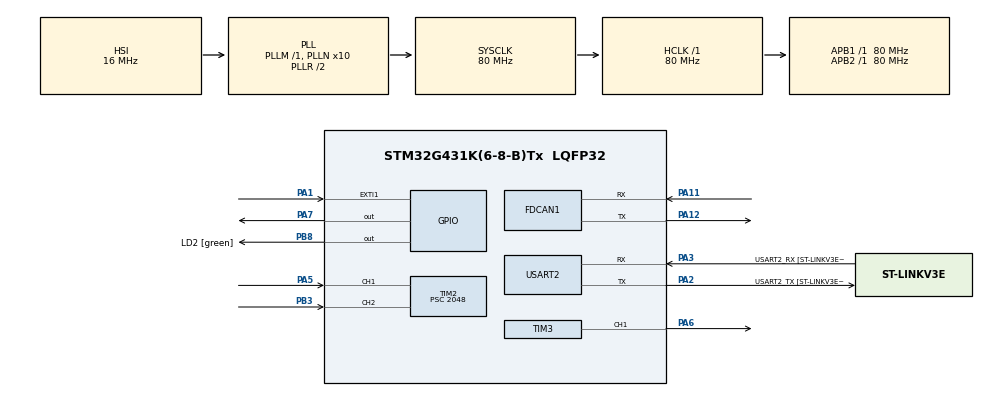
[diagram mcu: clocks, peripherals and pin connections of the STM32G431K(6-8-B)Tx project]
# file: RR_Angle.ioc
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FDCAN1.CalculateBaudRateNominal=1000000
FDCAN1.CalculateTimeBitNominal=1000
FDCAN1.CalculateTimeQuantumNominal=62.5
FDCAN1.DataPrescaler=2
FDCAN1.DataSyncJumpWidth=2
FDCAN1.DataTimeSeg1=10
FDCAN1.DataTimeSeg2=9
FDCAN1.FrameFormat=FDCAN_FRAME_FD_BRS
FDCAN1.NominalPrescaler=5
FDCAN1.NominalSyncJumpWidth=2
FDCAN1.NominalTimeSeg1=13
FDCAN1.StdFiltersNbr=1
Mcu.Family=STM32G4
Mcu.Name=STM32G431K(6-8-B)Tx
Mcu.Package=LQFP32
NVIC.EXTI1_IRQn=true\:0\:0\:false\:false\:true\:true\:true\:true
NVIC.FDCAN1_IT0_IRQn=true\:0\:0\:false\:false\:true\:true\:true\:true
NVIC.PriorityGroup=NVIC_PRIORITYGROUP_4
PA1.GPIO_ModeDefaultEXTI=GPIO_MODE_IT_RISING
PA1.GPIO_PuPd=GPIO_PULLDOWN
PA1.Signal=GPXTI1
PA11.Mode=FDCAN_Activate
PA11.Signal=FDCAN1_RX
PA12.Mode=FDCAN_Activate
PA12.Signal=FDCAN1_TX
PA13.GPIO_Label=T_SWDIO
PA13.Mode=Serial_Wire
PA13.Signal=SYS_JTMS-SWDIO
PA14.GPIO_Label=T_SWCLK
PA14.Mode=Serial_Wire
PA14.Signal=SYS_JTCK-SWCLK
PA2.GPIO_Label=USART2_TX [ST-LINKV3E_VCP_RX]
PA2.Mode=Asynchronous
PA2.Signal=USART2_TX
PA3.GPIO_Label=USART2_RX [ST-LINKV3E_VCP_TX]
PA3.Mode=Asynchronous
PA3.Signal=USART2_RX
PA5.Signal=S_TIM2_CH1
PA6.Signal=S_TIM3_CH1
PA7.Signal=GPIO_Output
PB3.Signal=S_TIM2_CH2
PB8-BOOT0.GPIO_Label=LD2 [green]
PB8-BOOT0.Signal=GPIO_Output
ProjectManager.HeapSize=0x200
ProjectManager.StackSize=0x400
ProjectManager.TargetToolchain=STM32CubeIDE
RCC.ADC12Freq_Value=80000000
RCC.AHBFreq_Value=80000000
RCC.APB1Freq_Value=80000000
RCC.APB1TimFreq_Value=80000000
RCC.APB2Freq_Value=80000000
RCC.APB2TimFreq_Value=80000000
RCC.CortexFreq_Value=80000000
RCC.EXTERNAL_CLOCK_VALUE=12288000
RCC.HCLKFreq_Value=80000000
RCC.HSE_VALUE=8000000
RCC.HSI48_VALUE=48000000
RCC.HSI_VALUE=16000000
RCC.LSE_VALUE=32768
RCC.PLLN=10
RCC.SYSCLKFreq_VALUE=80000000
RCC.SYSCLKSource=RCC_SYSCLKSOURCE_PLLCLK
RCC.USBFreq_Value=80000000
RCC.VCOOutputFreq_Value=160000000
SH.S_TIM2_CH1.0=TIM2_CH1,Encoder_Interface
SH.S_TIM2_CH2.0=TIM2_CH2,Encoder_Interface
SH.S_TIM3_CH1.0=TIM3_CH1,PWM Generation1 CH1
TIM2.Prescaler=2048
TIM3.Channel-PWM\ Generation1\ CH1=TIM_CHANNEL_1
TIM3.PeriodNoDither=99
TIM3.Prescaler=169
USART2.VirtualMode-Asynchronous=VM_ASYNC
USART2.WordLength=WORDLENGTH_8B
VP_TIM3_VS_ClockSourceINT.Mode=Internal
board=NUCLEO-G431KB

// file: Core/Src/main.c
/* USER CODE BEGIN Header */
/**
  ******************************************************************************
  * @file           : main.c
  * @brief          : Main program body
  ******************************************************************************
  * @attention
  *
  * Copyright (c) 2023 STMicroelectronics.
  * All rights reserved.
  *
  * This software is licensed under terms that can be found in the LICENSE file
  * in the root directory of this software component.
  * If no LICENSE file comes with this software, it is provided AS-IS.
  *
  ******************************************************************************
  */
/* USER CODE END Header */
#include "main.h"

FDCAN_HandleTypeDef hfdcan1;

TIM_HandleTypeDef htim2;
TIM_HandleTypeDef htim3;

UART_HandleTypeDef huart2;

/* USER CODE BEGIN PV */
FDCAN_TxHeaderTypeDef TxHeader;
FDCAN_RxHeaderTypeDef RxHeader;
FDCAN_FilterTypeDef sFilterConfig;

uint8_t TxData[1];
uint8_t RxData[1];
uint32_t TxMailbox;
/* USER CODE END PV */

void SystemClock_Config(void);
static void MX_GPIO_Init(void);
static void MX_USART2_UART_Init(void);
static void MX_TIM2_Init(void);
static void MX_TIM3_Init(void);
static void MX_FDCAN1_Init(void);

/* USER CODE BEGIN 0 */

int origin = 0; //原点を取ったかを記録する変数
int cnt = 0; //エンコーダーの値を記録する変数
int flag = 0; //どの操作を行うか判断するフラグ

void HAL_GPIO_EXTI_Callback(uint16_t GPIO_Pin){ //リミットスイッチを押したとき

	if (GPIO_Pin == GPIO_PIN_1 && origin == 0){
		__HAL_GPIO_EXTI_CLEAR_FLAG(GPIO_PIN_1);
		//__HAL_TIM_SET_COMPARE(&htim3, TIM_CHANNEL_1, 0);
		//HAL_GPIO_WritePin(GPIOA, GPIO_PIN_7, GPIO_PIN_SET);
		origin = 1;
		flag = 2;
		HAL_TIM_Encoder_Start(&htim2, TIM_CHANNEL_ALL);
	}
}

/* USER CODE END 0 */

int main(void)
{

  /* MCU Configuration--------------------------------------------------------*/

  /* Reset of all peripherals, Initializes the Flash interface and the Systick. */
  HAL_Init();

  /* Configure the system clock */
  SystemClock_Config();

  /* Initialize all configured peripherals */
  MX_GPIO_Init();
  MX_USART2_UART_Init();
  MX_TIM2_Init();
  MX_TIM3_Init();
  MX_FDCAN1_Init();
  /* USER CODE BEGIN 2 */
    TxHeader.Identifier = 0x513;
    TxHeader.IdType = FDCAN_STANDARD_ID;
    TxHeader.TxFrameType = FDCAN_DATA_FRAME;
    TxHeader.DataLength = FDCAN_DLC_BYTES_1;
    TxHeader.ErrorStateIndicator = FDCAN_ESI_ACTIVE;
    TxHeader.BitRateSwitch = FDCAN_BRS_ON;
    TxHeader.FDFormat = FDCAN_FD_CAN;
    TxHeader.TxEventFifoControl = FDCAN_NO_TX_EVENTS;
    TxHeader.MessageMarker = 0;

    FDCAN_FilterTypeDef sFilterConfig;
    sFilterConfig.IdType = FDCAN_STANDARD_ID;
    sFilterConfig.FilterIndex = 0;
    sFilterConfig.FilterType = FDCAN_FILTER_DUAL;
    sFilterConfig.FilterConfig = FDCAN_FILTER_TO_RXFIFO0;
    sFilterConfig.FilterID1 = 0x051;
    sFilterConfig.FilterID2 = 0x302;

  __HAL_TIM_SET_COMPARE(&htim3, TIM_CHANNEL_1, 0);
  HAL_GPIO_WritePin(GPIOA, GPIO_PIN_7, GPIO_PIN_RESET);
  HAL_TIM_PWM_Start(&htim3, TIM_CHANNEL_1);
  __HAL_GPIO_EXTI_CLEAR_FLAG(GPIO_PIN_1);

  /* USER CODE END 2 */

  /* Infinite loop */
  while (1)
  {

    /* USER CODE BEGIN 3 */
        if(flag == 5){
            HAL_GPIO_WritePin(GPIOA, GPIO_PIN_7, GPIO_PIN_RESET);
            __HAL_TIM_SET_COMPARE(&htim3, TIM_CHANNEL_1, 60);
            HAL_GPIO_WritePin(GPIOA, GPIO_PIN_7, GPIO_PIN_SET);
            __HAL_TIM_SET_COMPARE(&htim3, TIM_CHANNEL_1, 60);
            cnt = abs(__HAL_TIM_GET_COUNTER(&htim2));
            if(cnt == 140){
                __HAL_TIM_SET_COMPARE(&htim3, TIM_CHANNEL_1, 0);
                flag = 0;
            }
        }

	  if(flag == 1){//原点を取る
		  HAL_GPIO_WritePin(GPIOA, GPIO_PIN_7, GPIO_PIN_RESET);
		  __HAL_TIM_SET_COMPARE(&htim3, TIM_CHANNEL_1, 60);
	  }

	  if(flag == 2){//原点を取ったあとに初期位置に
		  HAL_GPIO_WritePin(GPIOA, GPIO_PIN_7, GPIO_PIN_SET);
		  __HAL_TIM_SET_COMPARE(&htim3, TIM_CHANNEL_1, 60);
		  cnt = abs(__HAL_TIM_GET_COUNTER(&htim2));
		  if(cnt == 140){
			  __HAL_TIM_SET_COMPARE(&htim3, TIM_CHANNEL_1, 0);
			  flag = 0;
		  }
	  }

	  if(flag == 3){ //発射台を45度傾ける
		  HAL_GPIO_WritePin(GPIOA, GPIO_PIN_7, GPIO_PIN_SET);
		  __HAL_TIM_SET_COMPARE(&htim3, TIM_CHANNEL_1, 60);
		  cnt = abs(__HAL_TIM_GET_COUNTER(&htim2));

		  if(cnt == 1900){
			  __HAL_TIM_SET_COMPARE(&htim3, TIM_CHANNEL_1, 0);
			  flag = 0;
		  }
	  }

	  if(flag == 4){ //発射台を装填位置に移動
		  HAL_GPIO_WritePin(GPIOA, GPIO_PIN_7, GPIO_PIN_RESET);
		  __HAL_TIM_SET_COMPARE(&htim3, TIM_CHANNEL_1, 60);
		  cnt = abs(__HAL_TIM_GET_COUNTER(&htim2));

		  if(cnt == 140){
			  __HAL_TIM_SET_COMPARE(&htim3, TIM_CHANNEL_1, 0);
			  flag = 0;
		  }

          // 次の行程へCAN通信
          TxHeader.Identifier = 0x324;
          TxData[0] = 0x03;
          if (HAL_FDCAN_AddMessageToTxFifoQ(&hfdcan1, &TxHeader, TxData) != HAL_OK)
          {
              Error_Handler();
          }
	  }
  }
  /* USER CODE END 3 */
}

void SystemClock_Config(void)
{
  RCC_OscInitTypeDef RCC_OscInitStruct = {0};
  RCC_ClkInitTypeDef RCC_ClkInitStruct = {0};

  /** Configure the main internal regulator output voltage
  */
  HAL_PWREx_ControlVoltageScaling(PWR_REGULATOR_VOLTAGE_SCALE1);

  /** Initializes the RCC Oscillators according to the specified parameters
  * in the RCC_OscInitTypeDef structure.
  */
  RCC_OscInitStruct.OscillatorType = RCC_OSCILLATORTYPE_HSI;
  RCC_OscInitStruct.HSIState = RCC_HSI_ON;
  RCC_OscInitStruct.HSICalibrationValue = RCC_HSICALIBRATION_DEFAULT;
  RCC_OscInitStruct.PLL.PLLState = RCC_PLL_ON;
  RCC_OscInitStruct.PLL.PLLSource = RCC_PLLSOURCE_HSI;
  RCC_OscInitStruct.PLL.PLLM = RCC_PLLM_DIV1;
  RCC_OscInitStruct.PLL.PLLN = 10;
  RCC_OscInitStruct.PLL.PLLP = RCC_PLLP_DIV2;
  RCC_OscInitStruct.PLL.PLLQ = RCC_PLLQ_DIV2;
  RCC_OscInitStruct.PLL.PLLR = RCC_PLLR_DIV2;
  if (HAL_RCC_OscConfig(&RCC_OscInitStruct) != HAL_OK)
  {
    Error_Handler();
  }

  /** Initializes the CPU, AHB and APB buses clocks
  */
  RCC_ClkInitStruct.ClockType = RCC_CLOCKTYPE_HCLK|RCC_CLOCKTYPE_SYSCLK
                              |RCC_CLOCKTYPE_PCLK1|RCC_CLOCKTYPE_PCLK2;
  RCC_ClkInitStruct.SYSCLKSource = RCC_SYSCLKSOURCE_PLLCLK;
  RCC_ClkInitStruct.AHBCLKDivider = RCC_SYSCLK_DIV1;
  RCC_ClkInitStruct.APB1CLKDivider = RCC_HCLK_DIV1;
  RCC_ClkInitStruct.APB2CLKDivider = RCC_HCLK_DIV1;

  if (HAL_RCC_ClockConfig(&RCC_ClkInitStruct, FLASH_LATENCY_2) != HAL_OK)
  {
    Error_Handler();
  }
}

static void MX_FDCAN1_Init(void)
{

  hfdcan1.Instance = FDCAN1;
  hfdcan1.Init.ClockDivider = FDCAN_CLOCK_DIV1;
  hfdcan1.Init.FrameFormat = FDCAN_FRAME_FD_BRS;
  hfdcan1.Init.Mode = FDCAN_MODE_NORMAL;
  hfdcan1.Init.AutoRetransmission = DISABLE;
  hfdcan1.Init.TransmitPause = DISABLE;
  hfdcan1.Init.ProtocolException = DISABLE;
  hfdcan1.Init.NominalPrescaler = 5;
  hfdcan1.Init.NominalSyncJumpWidth = 2;
  hfdcan1.Init.NominalTimeSeg1 = 13;
  hfdcan1.Init.NominalTimeSeg2 = 2;
  hfdcan1.Init.DataPrescaler = 2;
  hfdcan1.Init.DataSyncJumpWidth = 2;
  hfdcan1.Init.DataTimeSeg1 = 10;
  hfdcan1.Init.DataTimeSeg2 = 9;
  hfdcan1.Init.StdFiltersNbr = 1;
  hfdcan1.Init.ExtFiltersNbr = 0;
  hfdcan1.Init.TxFifoQueueMode = FDCAN_TX_FIFO_OPERATION;
  if (HAL_FDCAN_Init(&hfdcan1) != HAL_OK)
  {
    Error_Handler();
  }

}

static void MX_TIM2_Init(void)
{

  TIM_Encoder_InitTypeDef sConfig = {0};
  TIM_MasterConfigTypeDef sMasterConfig = {0};

  htim2.Instance = TIM2;
  htim2.Init.Prescaler = 2048;
  htim2.Init.CounterMode = TIM_COUNTERMODE_UP;
  htim2.Init.Period = 4.294967295E9;
  htim2.Init.ClockDivision = TIM_CLOCKDIVISION_DIV1;
  htim2.Init.AutoReloadPreload = TIM_AUTORELOAD_PRELOAD_DISABLE;
  sConfig.EncoderMode = TIM_ENCODERMODE_TI1;
  sConfig.IC1Polarity = TIM_ICPOLARITY_RISING;
  sConfig.IC1Selection = TIM_ICSELECTION_DIRECTTI;
  sConfig.IC1Prescaler = TIM_ICPSC_DIV1;
  sConfig.IC1Filter = 0;
  sConfig.IC2Polarity = TIM_ICPOLARITY_RISING;
  sConfig.IC2Selection = TIM_ICSELECTION_DIRECTTI;
  sConfig.IC2Prescaler = TIM_ICPSC_DIV1;
  sConfig.IC2Filter = 0;
  if (HAL_TIM_Encoder_Init(&htim2, &sConfig) != HAL_OK)
  {
    Error_Handler();
  }
  sMasterConfig.MasterOutputTrigger = TIM_TRGO_RESET;
  sMasterConfig.MasterSlaveMode = TIM_MASTERSLAVEMODE_DISABLE;
  if (HAL_TIMEx_MasterConfigSynchronization(&htim2, &sMasterConfig) != HAL_OK)
  {
    Error_Handler();
  }

}

static void MX_TIM3_Init(void)
{

  TIM_ClockConfigTypeDef sClockSourceConfig = {0};
  TIM_MasterConfigTypeDef sMasterConfig = {0};
  TIM_OC_InitTypeDef sConfigOC = {0};

  htim3.Instance = TIM3;
  htim3.Init.Prescaler = 169;
  htim3.Init.CounterMode = TIM_COUNTERMODE_UP;
  htim3.Init.Period = 99;
  htim3.Init.ClockDivision = TIM_CLOCKDIVISION_DIV1;
  htim3.Init.AutoReloadPreload = TIM_AUTORELOAD_PRELOAD_DISABLE;
  if (HAL_TIM_Base_Init(&htim3) != HAL_OK)
  {
    Error_Handler();
  }
  sClockSourceConfig.ClockSource = TIM_CLOCKSOURCE_INTERNAL;
  if (HAL_TIM_ConfigClockSource(&htim3, &sClockSourceConfig) != HAL_OK)
  {
    Error_Handler();
  }
  if (HAL_TIM_PWM_Init(&htim3) != HAL_OK)
  {
    Error_Handler();
  }
  sMasterConfig.MasterOutputTrigger = TIM_TRGO_RESET;
  sMasterConfig.MasterSlaveMode = TIM_MASTERSLAVEMODE_DISABLE;
  if (HAL_TIMEx_MasterConfigSynchronization(&htim3, &sMasterConfig) != HAL_OK)
  {
    Error_Handler();
  }
  sConfigOC.OCMode = TIM_OCMODE_PWM1;
  sConfigOC.Pulse = 0;
  sConfigOC.OCPolarity = TIM_OCPOLARITY_HIGH;
  sConfigOC.OCFastMode = TIM_OCFAST_DISABLE;
  if (HAL_TIM_PWM_ConfigChannel(&htim3, &sConfigOC, TIM_CHANNEL_1) != HAL_OK)
  {
    Error_Handler();
  }
  HAL_TIM_MspPostInit(&htim3);

}

static void MX_USART2_UART_Init(void)
{

  huart2.Instance = USART2;
  huart2.Init.BaudRate = 115200;
  huart2.Init.WordLength = UART_WORDLENGTH_8B;
  huart2.Init.StopBits = UART_STOPBITS_1;
  huart2.Init.Parity = UART_PARITY_NONE;
  huart2.Init.Mode = UART_MODE_TX_RX;
  huart2.Init.HwFlowCtl = UART_HWCONTROL_NONE;
  huart2.Init.OverSampling = UART_OVERSAMPLING_16;
  huart2.Init.OneBitSampling = UART_ONE_BIT_SAMPLE_DISABLE;
  huart2.Init.ClockPrescaler = UART_PRESCALER_DIV1;
  huart2.AdvancedInit.AdvFeatureInit = UART_ADVFEATURE_NO_INIT;
  if (HAL_UART_Init(&huart2) != HAL_OK)
  {
    Error_Handler();
  }
  if (HAL_UARTEx_SetTxFifoThreshold(&huart2, UART_TXFIFO_THRESHOLD_1_8) != HAL_OK)
  {
    Error_Handler();
  }
  if (HAL_UARTEx_SetRxFifoThreshold(&huart2, UART_RXFIFO_THRESHOLD_1_8) != HAL_OK)
  {
    Error_Handler();
  }
  if (HAL_UARTEx_DisableFifoMode(&huart2) != HAL_OK)
  {
    Error_Handler();
  }

}

static void MX_GPIO_Init(void)
{
  GPIO_InitTypeDef GPIO_InitStruct = {0};

  /* GPIO Ports Clock Enable */
  __HAL_RCC_GPIOA_CLK_ENABLE();
  __HAL_RCC_GPIOB_CLK_ENABLE();

  /*Configure GPIO pin Output Level */
  HAL_GPIO_WritePin(GPIOA, GPIO_PIN_7, GPIO_PIN_RESET);

  /*Configure GPIO pin Output Level */
  HAL_GPIO_WritePin(LD2_GPIO_Port, LD2_Pin, GPIO_PIN_RESET);

  /*Configure GPIO pin : PA1 */
  GPIO_InitStruct.Pin = GPIO_PIN_1;
  GPIO_InitStruct.Mode = GPIO_MODE_IT_RISING;
  GPIO_InitStruct.Pull = GPIO_PULLDOWN;
  HAL_GPIO_Init(GPIOA, &GPIO_InitStruct);

  /*Configure GPIO pin : PA7 */
  GPIO_InitStruct.Pin = GPIO_PIN_7;
  GPIO_InitStruct.Mode = GPIO_MODE_OUTPUT_PP;
  GPIO_InitStruct.Pull = GPIO_NOPULL;
  GPIO_InitStruct.Speed = GPIO_SPEED_FREQ_LOW;
  HAL_GPIO_Init(GPIOA, &GPIO_InitStruct);

  /*Configure GPIO pin : LD2_Pin */
  GPIO_InitStruct.Pin = LD2_Pin;
  GPIO_InitStruct.Mode = GPIO_MODE_OUTPUT_PP;
  GPIO_InitStruct.Pull = GPIO_NOPULL;
  GPIO_InitStruct.Speed = GPIO_SPEED_FREQ_LOW;
  HAL_GPIO_Init(LD2_GPIO_Port, &GPIO_InitStruct);

  /* EXTI interrupt init*/
  HAL_NVIC_SetPriority(EXTI1_IRQn, 0, 0);
  HAL_NVIC_EnableIRQ(EXTI1_IRQn);

}

/* USER CODE BEGIN 4 */
void HAL_FDCAN_RxFifo0Callback(FDCAN_HandleTypeDef *hfdcan1, uint32_t RxFifo0ITs) {
    if ((RxFifo0ITs & FDCAN_IT_RX_FIFO0_NEW_MESSAGE) != RESET) {
        /* Retrieve Rx messages from RX FIFO0 */
        if (HAL_FDCAN_GetRxMessage(hfdcan1, FDCAN_RX_FIFO0, &RxHeader, RxData) != HAL_OK) {
            Error_Handler();
        }

        if ((RxHeader.Identifier == 0x302)) {
            if (RxData[0] == 0x005){
                flag = 5;
            } else if (RxData[0] == 0x001){
                flag = 1;
            } else if (RxData[0] == 0x002){
                flag = 2;
            } else if (RxData[0] == 0x003){
                flag = 3;
            } else if (RxData[0] == 0x004){
                flag = 4;
            }
        }
        if ((RxHeader.Identifier == 0x051)) {
            flag = 5;
        }
    }
}
/* USER CODE END 4 */

void Error_Handler(void)
{
  __disable_irq();
  while (1)
  {
  }
}
